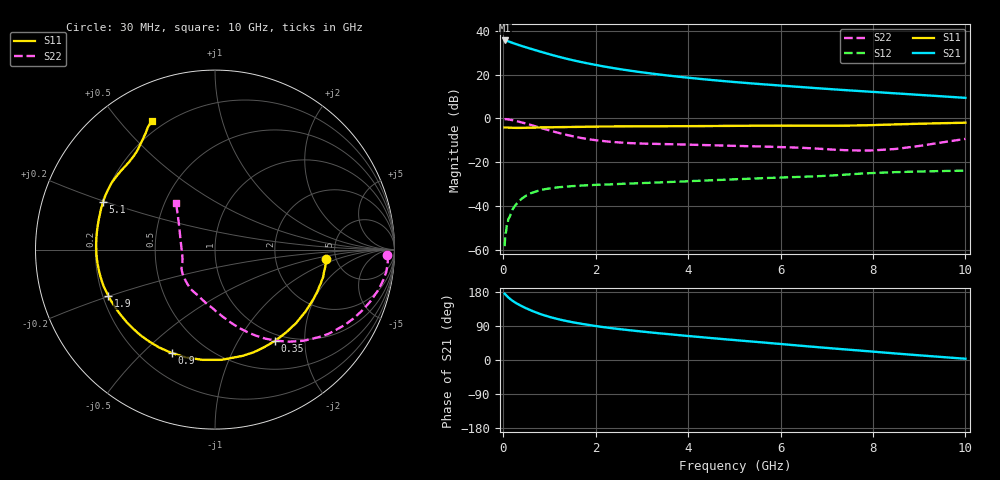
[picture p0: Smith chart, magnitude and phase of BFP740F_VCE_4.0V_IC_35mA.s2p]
! Infineon Technologies  Discrete & RF Semiconductors
! BFP740F
! VCE =  4.0 V,  IC =  35 mA
! Common Emitter S-Parameters:  Oct 2012
# GHz  S  MA  R  50
!  f  S11  S21  S12  S22
! GHz  MAG  ANG  MAG  ANG  MAG  ANG  MAG  ANG
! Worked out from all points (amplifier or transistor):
!   99 points, 30 MHz to 10 GHz, reference 50 ohm
!   highest |S21| = 35.7 dB at 30 MHz (marker M1)
!   |S21| within 3 dB of that: start of sweep to 472 MHz
!   unconditionally stable (mu >= 1): 5.14 GHz to end of sweep
!   at 350 MHz: K = 0.24, MSG = 35.6 dB, |S12| = -37.7 dB
!   at 3.5 GHz: K = 0.82, MSG = 24.5 dB, |S12| = -29.1 dB
!   at 10 GHz: K = 1.15, MAG = 14.3 dB, |S12| = -23.9 dB
!   S11 on the Smith chart (normalised r, x): 30 MHz: 4.12, -0.74; 350 MHz: 0.90, -1.45; 900 MHz: 0.33, -0.61; 1.9 GHz: 0.22, -0.20; 5.1 GHz: 0.20, +0.19; 10 GHz: 0.16, +0.61
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0.03  0.6199 -5.1  60.71 175.0  0.0012 73.8  0.9597 -1.7
0.07  0.6202 -12.4  59.82 170.1  0.0031 74.3  0.9627 -6.4
0.11  0.6168 -19.5  57.96 165.2  0.005 75.2  0.951 -10.6
0.15  0.6142 -26.3  55.96 161.0  0.006 73.1  0.9341 -14.4
0.2  0.6112 -34.4  53.5 156.4  0.0083 70.0  0.911 -18.7
0.25  0.6096 -42.1  51.24 152.4  0.0099 68.7  0.8862 -22.7
0.35  0.6088 -56.5  47.13 145.4  0.0131 64.4  0.8363 -30.1
0.45  0.6114 -69.4  43.7 139.2  0.0159 60.1  0.7858 -36.8
0.6  0.6153 -86.6  39.11 130.9  0.0195 53.3  0.7084 -45.8
0.8  0.6223 -105.1  33.81 121.5  0.0229 46.8  0.6135 -55.9
0.9  0.6247 -112.8  31.5 117.5  0.0241 44.0  0.5709 -60.4
1.1  0.6297 -125.6  27.49 110.5  0.026 39.6  0.4973 -68.2
1.3  0.6342 -135.9  24.21 104.7  0.0273 36.8  0.438 -75.0
1.5  0.6382 -144.1  21.54 99.7  0.0284 34.4  0.3921 -80.9
1.7  0.6429 -150.9  19.36 95.4  0.0292 32.9  0.3561 -86.5
1.9  0.6479 -156.6  17.55 91.6  0.0299 31.8  0.3288 -91.9
2.6  0.6578 -171.4  13.04 80.4  0.0321 30.5  0.2786 -107.7
3.4  0.6631 176.7  10.04 70.2  0.0345 30.9  0.2606 -119.3
5.1  0.678 157.1  6.674 51.6  0.041 31.7  0.2347 -136.0
6.7  0.6833 140.7  4.994 35.0  0.0472 31.9  0.2067 -153.8
8.5  0.7309 123.7  3.742 17.1  0.0592 27.8  0.2009 163.3
10  0.7984 116.0  2.959 3.3  0.064 21.9  0.3407 129.7
